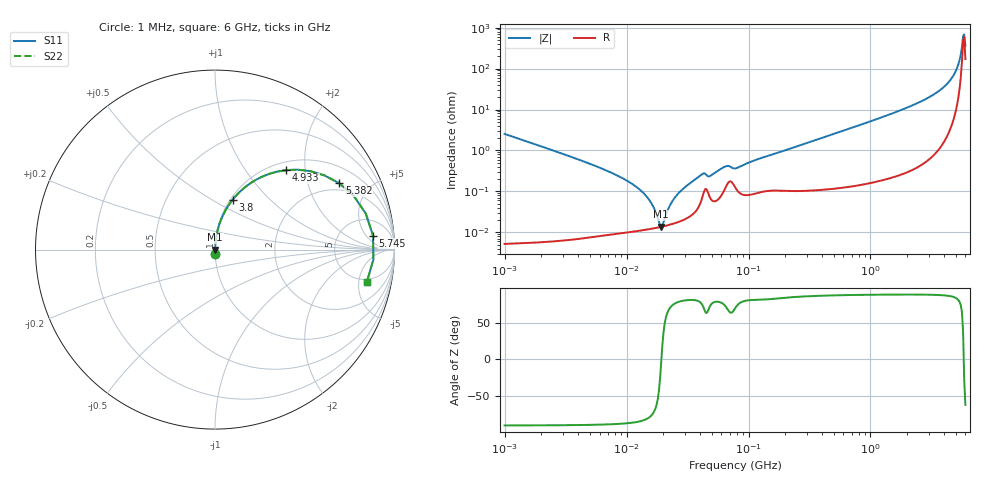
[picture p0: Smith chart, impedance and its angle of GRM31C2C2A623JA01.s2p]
!Murata Part Number: GRM31C2C2A623JA01
!These Parameters are Measured in Series Mode Connection
!Data Generated on Mar 30, 2021
!  o--ll--o
!Port1  Port2
!  o------o
!Operation Temp=25[degC], DC Bias Voltage=0[V]
!Freq. Start=1000[kHz] Stop=6[GHz] 401[Steps]
# Hz S RI R 50
!Freq.(Hz) S11(Real) S11(Imag) S21(Real) S21(Imag) S12(Real) S12(Imag) S22(Real) S22(Imag)
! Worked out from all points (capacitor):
!   401 points, 1 MHz to 6 GHz, reference 50 ohm
!   read as one part in series: C = 62.7 nF near 1.044 MHz
!   lowest |Z| = 13.6 mohm at 19.26 MHz (marker M1)
!   series resonance near 19.3 MHz, so ESL is about 1.1 nH
!   S11 on the Smith chart (normalised r, x): 1 MHz: 1.00, -0.05; 3.8 GHz: 1.03, +0.63; 4.933 GHz: 1.15, +1.58; 5.382 GHz: 1.66, +3.20; 5.745 GHz: 11, +8; 6 GHz: 4.42, -6.39
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1000000  0.000693 -0.0253  0.9993 0.0253  0.9993 0.0253  0.000693 -0.0253
4293785  0.000102 -0.00561  0.9999 0.00561  0.9999 0.00561  0.000102 -0.00561
8245209  9.75e-05 -0.00251  0.9999 0.00251  0.9999 0.00251  9.75e-05 -0.00251
1.219603e7  0.000109 -0.00125  0.9999 0.00125  0.9999 0.00125  0.000109 -0.00125
1.549236e7  0.00012 -0.000582  0.9999 0.000582  0.9999 0.000582  0.00012 -0.000582
1.843659e7  0.000133 -0.000121  0.9999 0.000121  0.9999 0.000121  0.000133 -0.000121
1.925624e7  0.000136 -5.8e-06  0.9999 5.8e-06  0.9999 5.8e-06  0.000136 -5.8e-06
2.44608e7  0.000165 0.000637  0.9998 -0.000637  0.9998 -0.000637  0.000165 0.000637
3.316698e7  0.000248 0.00157  0.9998 -0.00157  0.9998 -0.00157  0.000248 0.00157
4.213132e7  0.00078 0.00258  0.9992 -0.00258  0.9992 -0.00258  0.00078 0.00258
4.800399e7  0.00074 0.00223  0.9993 -0.00223  0.9993 -0.00223  0.00074 0.00223
6.652088e7  0.00146 0.00391  0.9985 -0.00391  0.9985 -0.00391  0.00146 0.00391
7.745967e7  0.00128 0.0034  0.9987 -0.0034  0.9987 -0.0034  0.00128 0.0034
3.325952e8  0.00133 0.0167  0.9987 -0.0167  0.9987 -0.0167  0.00133 0.0167
1.428092e9  0.00769 0.0747  0.9923 -0.0747  0.9923 -0.0747  0.00769 0.0747
2.569103e9  0.0275 0.1503  0.9725 -0.1503  0.9725 -0.1503  0.0275 0.1503
3.800129e9  0.0985 0.2783  0.9015 -0.2783  0.9015 -0.2783  0.0985 0.2783
4.425027e9  0.2047 0.3747  0.7953 -0.3747  0.7953 -0.3747  0.2047 0.3747
4.93336e9  0.3973 0.443  0.6027 -0.443  0.6027 -0.443  0.3973 0.443
5.38176e9  0.6926 0.3695  0.3074 -0.3695  0.3074 -0.3695  0.6926 0.3695
5.744609e9  0.8803 0.0774  0.1197 -0.0774  0.1197 -0.0774  0.8803 0.0774
6e9  0.8455 -0.182  0.1545 0.182  0.1545 0.182  0.8455 -0.182
